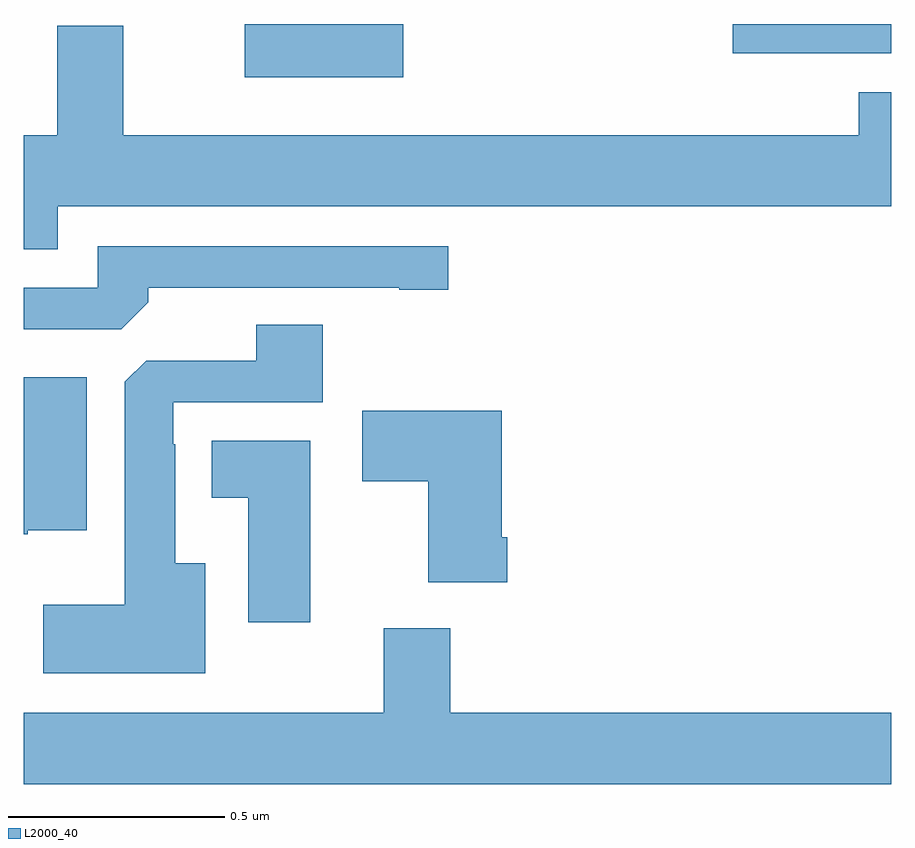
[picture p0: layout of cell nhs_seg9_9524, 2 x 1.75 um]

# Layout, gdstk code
import gdstk
lib = gdstk.Library(unit=1e-6, precision=1e-09)
def R(c, l, rs):  # rectangles x0, y0, x1, y1
    for r in rs: c.add(gdstk.rectangle(r[:2], r[2:], *l))
def P(c, l, *ps):  # polygons
    for p in ps: c.add(gdstk.Polygon(p, *l))
L2000_40 = (2000, 40)

nhs_seg9_9524 = lib.new_cell('nhs_seg9_9524')
R(nhs_seg9_9524, L2000_40, [(231.51,1203.377,231.875,1203.5), (232.635,1203.432,233,1203.5)])
P(nhs_seg9_9524, L2000_40, [(231.079,1203.08),(233,1203.08),(233,1203.343),(232.925,1203.343),(232.925,1203.244),(231.229,1203.244),(231.229,1203.496),(231.077,1203.496),(231.077,1203.244),(231,1203.244),(231,1202.981),(231.079,1202.981)],
  [(231.287,1202.858),(231.287,1202.892),(231.866,1202.892),(231.866,1202.887),(231.979,1202.887),(231.979,1202.988),(231.171,1202.988),(231.171,1202.892),(231,1202.892),(231,1202.796),(231.225,1202.796)],
  [(231.418,1202.257),(231.349,1202.257),(231.349,1202.531),(231.345,1202.531),(231.345,1202.628),(231.689,1202.628),(231.689,1202.807),(231.536,1202.807),(231.536,1202.724),(231.282,1202.724),(231.233,1202.675),(231.233,1202.161),(231.045,1202.161),(231.045,1202.003),(231.418,1202.003)],
  [(231.009,1202.333),(231.145,1202.333),(231.145,1202.686),(231,1202.686),(231,1202.324),(231.009,1202.324)],
  [(232.115,1202.317),(232.102,1202.317),(232.102,1202.608),(231.78,1202.608),(231.78,1202.446),(231.932,1202.446),(231.932,1202.213),(232.115,1202.213)],
  [(231.661,1202.539),(231.434,1202.539),(231.434,1202.408),(231.518,1202.408),(231.518,1202.121),(231.661,1202.121)],
  [(233,1201.912),(231.983,1201.912),(231.983,1202.107),(231.83,1202.107),(231.83,1201.912),(231,1201.912),(231,1201.748),(233,1201.748)])

lib.write_gds('nhs_seg9_9524.gds')
